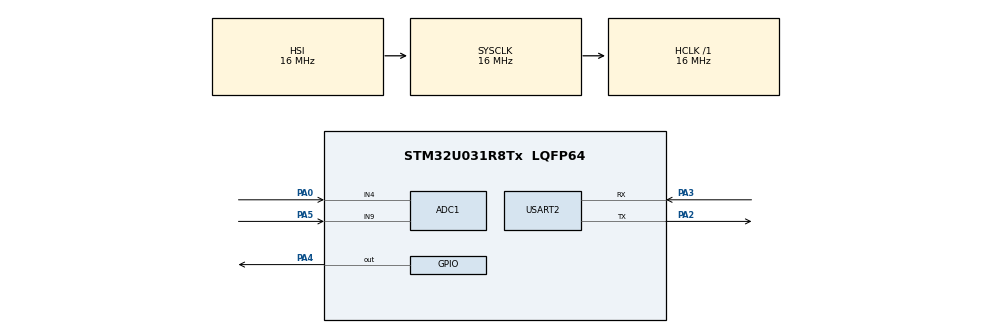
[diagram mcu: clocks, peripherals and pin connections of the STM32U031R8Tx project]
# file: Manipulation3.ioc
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ADC1.Channel-7\#ChannelRegularConversion=ADC_CHANNEL_4
ADC1.Channel-8\#ChannelRegularConversion=ADC_CHANNEL_9
ADC1.ClockPrescaler=ADC_CLOCK_ASYNC_DIV4
ADC1.ContinuousConvMode=ENABLE
ADC1.DMAContinuousRequests=ENABLE
ADC1.DiscontinuousConvMode=DISABLE
ADC1.EnableAnalogWatchDog1=false
ADC1.LowPowerAutoWait=ENABLE
ADC1.NbrOfConversion=2
ADC1.NbrOfConversionFlag=1
ADC1.Overrun=ADC_OVR_DATA_OVERWRITTEN
ADC1.Rank-8\#ChannelRegularConversion=2
ADC1.RankArg-7\#ChannelRegularConversion=ADC_REGULAR_RANK_1
ADC1.RankArg-8\#ChannelRegularConversion=ADC_REGULAR_RANK_2
ADC1.SamplingTime-8\#ChannelRegularConversion=ADC_SAMPLINGTIME_COMMON_1
ADC1.SamplingTimeCommon1=ADC_SAMPLETIME_160CYCLES_5
ADC1.SamplingTimeCommon2=ADC_SAMPLETIME_160CYCLES_5
ADC1.SelectedChannel=ADC_CHANNEL_4|ADC_CHANNEL_9|ADC_CHANNEL_VBAT
ADC1.master=1
Dma.ADC1.0.Direction=DMA_PERIPH_TO_MEMORY
Dma.ADC1.0.EventEnable=DISABLE
Dma.ADC1.0.Instance=DMA1_Channel1
Dma.ADC1.0.MemDataAlignment=DMA_MDATAALIGN_HALFWORD
Dma.ADC1.0.MemInc=DMA_MINC_ENABLE
Dma.ADC1.0.Mode=DMA_CIRCULAR
Dma.ADC1.0.PeriphDataAlignment=DMA_PDATAALIGN_HALFWORD
Dma.ADC1.0.PeriphInc=DMA_PINC_DISABLE
Dma.ADC1.0.Polarity=HAL_DMAMUX_REQ_GEN_RISING
Dma.ADC1.0.Priority=DMA_PRIORITY_LOW
Dma.ADC1.0.RequestNumber=1
Dma.ADC1.0.SignalID=NONE
Dma.ADC1.0.SyncEnable=DISABLE
Dma.ADC1.0.SyncPolarity=HAL_DMAMUX_SYNC_NO_EVENT
Dma.ADC1.0.SyncRequestNumber=1
Dma.ADC1.0.SyncSignalID=NONE
Dma.Request0=ADC1
Mcu.Family=STM32U0
Mcu.Name=STM32U031R8Tx
Mcu.Package=LQFP64
NUCLEO-U031R8.BUTTON=1
NUCLEO-U031R8.LD4=false
NUCLEO-U031R8.VCP=false
NVIC.ADC_COMP1_IRQn=true\:0\:0\:false\:false\:true\:true\:true\:true
NVIC.DMA1_Channel1_IRQn=true\:0\:0\:false\:false\:true\:false\:true\:true
NVIC.EXTI4_15_IRQn=true\:0\:0\:false\:false\:true\:false\:true\:true
NVIC.PriorityGroup=NVIC_PRIORITYGROUP_2
PA0.Mode=IN4
PA0.Signal=ADC1_IN4
PA0.Stacked=true
PA13\ (SWDIO).GPIO_Label=SWDIO
PA13\ (SWDIO).Signal=DEBUG_JTMS-SWDIO
PA14\ (SWCLK).GPIO_Label=SWCLK
PA14\ (SWCLK).Signal=DEBUG_JTCK-SWCLK
PA2.Mode=Asynchronous
PA2.Signal=USART2_TX
PA2.Stacked=true
PA3.Mode=Asynchronous
PA3.Signal=USART2_RX
PA3.Stacked=true
PA4.Signal=GPIO_Output
PA4.Stacked=true
PA5.Mode=IN9
PA5.Signal=ADC1_IN9
PB8.GPIO_Label=I2C1_SCL
PB8.Signal=I2C1_SCL
PB9.GPIO_Label=I2C1_SDA
PB9.Signal=I2C1_SDA
PC14-OSC32_IN.GPIO_Label=OSC32_IN
PC14-OSC32_IN.Signal=RCC_OSC32_IN
PC15-OSC32_OUT.GPIO_Label=OSC32_OUT
PC15-OSC32_OUT.Signal=RCC_OSC32_OUT
PF0-OSC_IN.GPIO_Label=OSC_IN
PF0-OSC_IN.Signal=RCC_OSC_IN
PF1-OSC_OUT.GPIO_Label=OSC_OUT
PF1-OSC_OUT.Signal=RCC_OSC_OUT
ProjectManager.HeapSize=0x200
ProjectManager.StackSize=0x400
ProjectManager.TargetToolchain=STM32CubeIDE
RCC.AHBFreq_Value=16000000
RCC.CortexFreq_Value=16000000
RCC.HCLKFreq_Value=16000000
RCC.HSE_VALUE=4000000
RCC.HSI48_VALUE=48000000
RCC.HSI_VALUE=16000000
RCC.LSE_VALUE=32768
RCC.MSI_VALUE=4000000
RCC.SYSCLKFreq_VALUE=16000000
RCC.VCOOutputFreq_Value=64000000
USART2.VirtualMode-Asynchronous=VM_ASYNC
VP_ADC1_Vbat_Input.Mode=IN-Vbat
VP_NUCLEO-U031R8_VS_BSP_COMMON.Mode=COMMON
VP_PWR_VS_SECSignals.Mode=Security/Privilege
board=NUCLEO-U031R8

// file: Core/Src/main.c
/* USER CODE BEGIN Header */
/**
  ******************************************************************************
  * @file           : main.c
  * @brief          : Main program body
  ******************************************************************************
  * @attention
  *
  * Copyright (c) 2026 STMicroelectronics.
  * All rights reserved.
  *
  * This software is licensed under terms that can be found in the LICENSE file
  * in the root directory of this software component.
  * If no LICENSE file comes with this software, it is provided AS-IS.
  *
  ******************************************************************************
  */
/* USER CODE END Header */
#include "main.h"

/* USER CODE BEGIN Includes */
#include "stdio.h"
#include "string.h"
#include "math.h"

/* USER CODE END Includes */

/* USER CODE BEGIN PD */
#define OFFSET_BAT 0.0f

/* USER CODE END PD */

ADC_HandleTypeDef hadc1;
DMA_HandleTypeDef hdma_adc1;

UART_HandleTypeDef huart2;

/* USER CODE BEGIN PV */

uint32_t adc_buffer[2];
volatile uint8_t adc_ready = 0; // flag levé par le DMA quand les données sont prêtes

char msg[100];
const float VCC = 3.3f;

  //==================================================================//
 //               INITIALISATION PARTIE ÉNERGIE PILE                 //
//==================================================================//

// Variable pour l'estimation de l'énergie
uint32_t adc_32 = 0;   // Valeur brute lue par l'ADC (0-4095)
uint16_t adc_bat_value = 0;   // Valeur brute lue par l'ADC (0-4095)
float v_bat_measurer = 0.0f;  // Tension lue sur la pin PA0
float v_bat_reel = 0.0f;      // Tension réelle de la pile (après correction du pont)
int bat_pourcentage = 0;       // Résultat final en %

// Paramètres du montage
const float R10 = 560000.0f; //res 560k Ohm
const float R11 = 330000.0f; //res 330k Ohm

// Pont Diviseur Pile
const float PDP_Bat_Coef= (R11+R10)/ R11;

// Seuil des Piles (6V)
const float V_MAX = 6.0f; // 100% //précédement mis à 6V
const float V_MIN = 4.0f; // 0%

/* USER CODE END PV */

void SystemClock_Config(void);
static void MX_GPIO_Init(void);
static void MX_DMA_Init(void);
static void MX_USART2_UART_Init(void);
static void MX_ADC1_Init(void);

int main(void)
{

  /* USER CODE BEGIN 1 */
	uint32_t dernier_envoi = 0;
  /* USER CODE END 1 */

  /* MCU Configuration--------------------------------------------------------*/

  /* Reset of all peripherals, Initializes the Flash interface and the Systick. */
  HAL_Init();

  /* Configure the system clock */
  SystemClock_Config();

  /* Initialize all configured peripherals */
  MX_GPIO_Init();
  MX_DMA_Init();
  MX_USART2_UART_Init();
  MX_ADC1_Init();
  /* USER CODE BEGIN 2 */
  HAL_ADCEx_Calibration_Start(&hadc1);
  HAL_GPIO_WritePin(GPIOA, GPIO_PIN_4, GPIO_PIN_SET); // Alimente le pont diviseur
  HAL_Delay(10);
  HAL_ADC_Start_DMA(&hadc1, (uint32_t*)adc_buffer, 2); // Lance l'acquisition DMA en continu

  /* USER CODE END 2 */

  /* Initialize USER push-button, will be used to trigger an interrupt each time it's pressed.*/
  BSP_PB_Init(BUTTON_USER, BUTTON_MODE_EXTI);

  /* Infinite loop */
  /* USER CODE BEGIN WHILE */
  while (1)
    {

	        // On attend que le DMA ait fini sa première nouvelle capture
	        while(adc_ready == 0);

	      if (adc_ready == 1)
	      {
	          adc_ready = 0;   // on remet le flag à 0

	  adc_bat_value = (uint16_t)adc_buffer[0];   // IN4 (PA4) — pont diviseur batterie | La batterie est sur le Rank 2 -> adc_buffer[1]

          //==================================================================//
         //                        PARTIE ÉNERGIE PILE                       //
        //==================================================================//

//Tension sur la PIN PA0 (entre 0 et 3.3V car elle ne prend que 3.3V)
          v_bat_measurer = ((float)adc_bat_value) * VCC / 4095.0;

// Tension Réel des piles (Application du Coef)
          //Si besoin d'un OFFSET
          v_bat_reel = (v_bat_measurer * PDP_Bat_Coef) + OFFSET_BAT;

          HAL_Delay(100);

      //Calcul du pourcentage (Produit en croix entre V_MIN et V_MAX) -- Calcul linéaire -- pas bon car les piles n'ont pas une courbe linéaire
      if (v_bat_reel > V_MIN){
 /*   	  bat_pourcentage = (int)(((v_bat_lisse - V_MIN)/(V_MAX - V_MIN))*100.0f);
   */
    	  bat_pourcentage =(-31.4f *v_bat_reel * v_bat_reel * v_bat_reel)+(483.0f * v_bat_reel * v_bat_reel) -(2389.0f * v_bat_reel) + 3842.0f;
      } else {
    	  bat_pourcentage = 0;
      }

      // Sécurité pour ne pas afficher 102% ou -2%
          if (bat_pourcentage > 100) bat_pourcentage = 100;
          if (bat_pourcentage < 0)   bat_pourcentage = 0;

      //Décomposition pour affichage sans %f
          int v_entier = (int)v_bat_reel;
          int v_dec = (int)((v_bat_reel - v_entier) * 100);

          //==================================================================//
         //                       AFFICHAGE LIAISON SÉRIE                    //
        //==================================================================//

          // On regarde si 1000 ms se sont écoulées depuis le dernier envoi
          if (HAL_GetTick() - dernier_envoi >= 1000)
          		{
          //Affichage Batterie Restante
          int len2 = sprintf(msg, "Tension: %d.%02dV | Energie: %d%%\r\n\r\n",
                  v_entier, v_dec, bat_pourcentage); // ancienne partie de code
        		//  //adc_bat_value, v_entier, v_dec, mon_pourcentage);
            HAL_UART_Transmit(&huart2, (uint8_t*)msg, len2, 100);

            // On met à jour le chronomètre pour le prochain coup
            	dernier_envoi = HAL_GetTick();
          		}

	      }

   }
    /* USER CODE END WHILE */

}

void SystemClock_Config(void)
{
  RCC_OscInitTypeDef RCC_OscInitStruct = {0};
  RCC_ClkInitTypeDef RCC_ClkInitStruct = {0};

  /** Configure the main internal regulator output voltage
  */
  HAL_PWREx_ControlVoltageScaling(PWR_REGULATOR_VOLTAGE_SCALE2);

  /** Initializes the RCC Oscillators according to the specified parameters
  * in the RCC_OscInitTypeDef structure.
  */
  RCC_OscInitStruct.OscillatorType = RCC_OSCILLATORTYPE_HSI;
  RCC_OscInitStruct.HSIState = RCC_HSI_ON;
  RCC_OscInitStruct.HSICalibrationValue = RCC_HSICALIBRATION_DEFAULT;
  RCC_OscInitStruct.PLL.PLLState = RCC_PLL_NONE;
  if (HAL_RCC_OscConfig(&RCC_OscInitStruct) != HAL_OK)
  {
    Error_Handler();
  }

  /** Initializes the CPU, AHB and APB buses clocks
  */
  RCC_ClkInitStruct.ClockType = RCC_CLOCKTYPE_HCLK|RCC_CLOCKTYPE_SYSCLK
                              |RCC_CLOCKTYPE_PCLK1;
  RCC_ClkInitStruct.SYSCLKSource = RCC_SYSCLKSOURCE_HSI;
  RCC_ClkInitStruct.AHBCLKDivider = RCC_SYSCLK_DIV1;
  RCC_ClkInitStruct.APB1CLKDivider = RCC_HCLK_DIV1;

  if (HAL_RCC_ClockConfig(&RCC_ClkInitStruct, FLASH_LATENCY_1) != HAL_OK)
  {
    Error_Handler();
  }
}

static void MX_ADC1_Init(void)
{

  ADC_ChannelConfTypeDef sConfig = {0};

  /** Configure the global features of the ADC (Clock, Resolution, Data Alignment and number of conversion)
  */
  hadc1.Instance = ADC1;
  hadc1.Init.ClockPrescaler = ADC_CLOCK_ASYNC_DIV4;
  hadc1.Init.Resolution = ADC_RESOLUTION_12B;
  hadc1.Init.DataAlign = ADC_DATAALIGN_RIGHT;
  hadc1.Init.ScanConvMode = ADC_SCAN_ENABLE;
  hadc1.Init.EOCSelection = ADC_EOC_SINGLE_CONV;
  hadc1.Init.LowPowerAutoWait = ENABLE;
  hadc1.Init.LowPowerAutoPowerOff = DISABLE;
  hadc1.Init.ContinuousConvMode = ENABLE;
  hadc1.Init.NbrOfConversion = 2;
  hadc1.Init.DiscontinuousConvMode = DISABLE;
  hadc1.Init.ExternalTrigConv = ADC_SOFTWARE_START;
  hadc1.Init.ExternalTrigConvEdge = ADC_EXTERNALTRIGCONVEDGE_NONE;
  hadc1.Init.DMAContinuousRequests = ENABLE;
  hadc1.Init.Overrun = ADC_OVR_DATA_OVERWRITTEN;
  hadc1.Init.SamplingTimeCommon1 = ADC_SAMPLETIME_160CYCLES_5;
  hadc1.Init.SamplingTimeCommon2 = ADC_SAMPLETIME_160CYCLES_5;
  hadc1.Init.OversamplingMode = DISABLE;
  hadc1.Init.TriggerFrequencyMode = ADC_TRIGGER_FREQ_HIGH;
  if (HAL_ADC_Init(&hadc1) != HAL_OK)
  {
    Error_Handler();
  }

  /** Configure Regular Channel
  */
  sConfig.Channel = ADC_CHANNEL_4;
  sConfig.Rank = ADC_REGULAR_RANK_1;
  sConfig.SamplingTime = ADC_SAMPLINGTIME_COMMON_1;
  if (HAL_ADC_ConfigChannel(&hadc1, &sConfig) != HAL_OK)
  {
    Error_Handler();
  }

  /** Configure Regular Channel
  */
  sConfig.Channel = ADC_CHANNEL_9;
  sConfig.Rank = ADC_REGULAR_RANK_2;
  if (HAL_ADC_ConfigChannel(&hadc1, &sConfig) != HAL_OK)
  {
    Error_Handler();
  }

}

static void MX_USART2_UART_Init(void)
{

  huart2.Instance = USART2;
  huart2.Init.BaudRate = 115200;
  huart2.Init.WordLength = UART_WORDLENGTH_8B;
  huart2.Init.StopBits = UART_STOPBITS_1;
  huart2.Init.Parity = UART_PARITY_NONE;
  huart2.Init.Mode = UART_MODE_TX_RX;
  huart2.Init.HwFlowCtl = UART_HWCONTROL_NONE;
  huart2.Init.OverSampling = UART_OVERSAMPLING_16;
  huart2.Init.OneBitSampling = UART_ONE_BIT_SAMPLE_DISABLE;
  huart2.Init.ClockPrescaler = UART_PRESCALER_DIV1;
  huart2.AdvancedInit.AdvFeatureInit = UART_ADVFEATURE_NO_INIT;
  if (HAL_UART_Init(&huart2) != HAL_OK)
  {
    Error_Handler();
  }
  if (HAL_UARTEx_SetTxFifoThreshold(&huart2, UART_TXFIFO_THRESHOLD_1_8) != HAL_OK)
  {
    Error_Handler();
  }
  if (HAL_UARTEx_SetRxFifoThreshold(&huart2, UART_RXFIFO_THRESHOLD_1_8) != HAL_OK)
  {
    Error_Handler();
  }
  if (HAL_UARTEx_DisableFifoMode(&huart2) != HAL_OK)
  {
    Error_Handler();
  }

}

static void MX_DMA_Init(void)
{

  /* DMA controller clock enable */
  __HAL_RCC_DMA1_CLK_ENABLE();

  /* DMA interrupt init */
  /* DMA1_Channel1_IRQn interrupt configuration */
  HAL_NVIC_SetPriority(DMA1_Channel1_IRQn, 0, 0);
  HAL_NVIC_EnableIRQ(DMA1_Channel1_IRQn);

}

static void MX_GPIO_Init(void)
{
  GPIO_InitTypeDef GPIO_InitStruct = {0};

  /* GPIO Ports Clock Enable */
  __HAL_RCC_GPIOC_CLK_ENABLE();
  __HAL_RCC_GPIOF_CLK_ENABLE();
  __HAL_RCC_GPIOA_CLK_ENABLE();
  __HAL_RCC_GPIOB_CLK_ENABLE();

  /*Configure GPIO pin Output Level */
  HAL_GPIO_WritePin(GPIOA, GPIO_PIN_4, GPIO_PIN_RESET);

  /*Configure GPIO pin : PA4 */
  GPIO_InitStruct.Pin = GPIO_PIN_4;
  GPIO_InitStruct.Mode = GPIO_MODE_OUTPUT_PP;
  GPIO_InitStruct.Pull = GPIO_NOPULL;
  GPIO_InitStruct.Speed = GPIO_SPEED_FREQ_LOW;
  HAL_GPIO_Init(GPIOA, &GPIO_InitStruct);

  /*Configure GPIO pins : I2C1_SCL_Pin I2C1_SDA_Pin */
  GPIO_InitStruct.Pin = I2C1_SCL_Pin|I2C1_SDA_Pin;
  GPIO_InitStruct.Mode = GPIO_MODE_AF_OD;
  GPIO_InitStruct.Pull = GPIO_NOPULL;
  GPIO_InitStruct.Speed = GPIO_SPEED_FREQ_LOW;
  GPIO_InitStruct.Alternate = GPIO_AF4_I2C1;
  HAL_GPIO_Init(GPIOB, &GPIO_InitStruct);

}

/* USER CODE BEGIN 4 */

void HAL_ADC_ConvCpltCallback(ADC_HandleTypeDef *hadc)
{
    if (hadc->Instance == ADC1)
        adc_ready = 1;
}
/* USER CODE END 4 */

void Error_Handler(void)
{
  __disable_irq();
  while (1)
  {
  }
}
